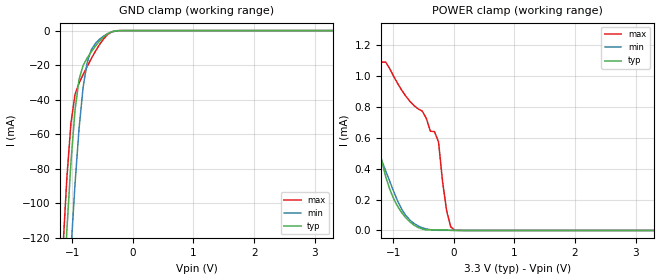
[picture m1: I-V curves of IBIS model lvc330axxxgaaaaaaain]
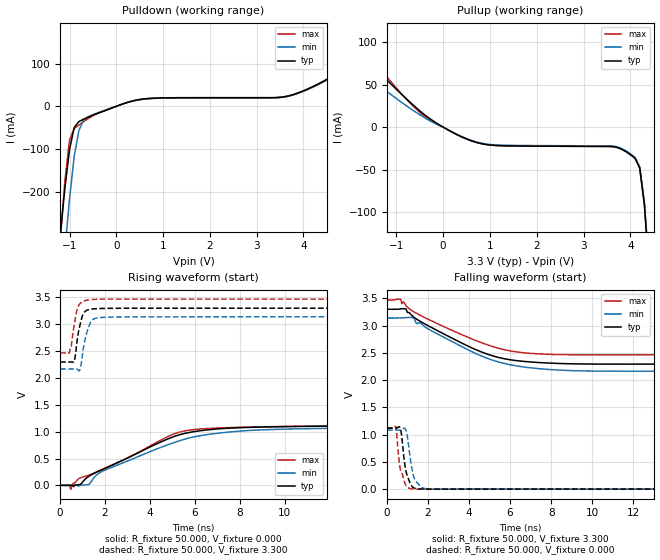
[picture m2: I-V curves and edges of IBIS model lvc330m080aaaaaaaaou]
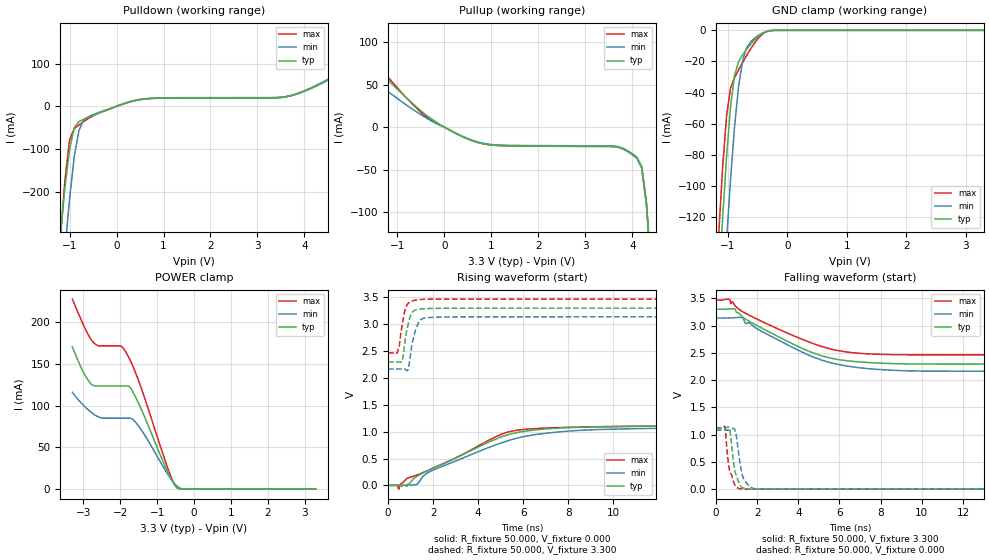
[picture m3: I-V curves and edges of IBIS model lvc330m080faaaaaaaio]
| IBIS Models Generator: Lattice Radiant Software (64-bit) 2023.2.1.288.0
| Report Generate Date: Jun 26 2024
| Report Generate Time: 14:55:34
| IBIS File LibisMaker.ibs
| Cadence Design Systems, Inc. 2021
[IBIS ver]   4.2
[File Name]   Mycpu_impl_1.ibs
[File Rev]   0.8
[Date]   Wed Dec 14 00:00:05 PST 2022
[Source]   Lattice Semiconductor 28fdsoi Process
[Notes]   Device: LFD2NX-40   Final
   Lattice Semiconductor has worked hard to ensure the
   models below are accurate and complete.  However, the
   data below was generated using simulation of the
   input/output model files for the silicon.  Therefore,
   the data below is for reference and initial design
   purposes only.
   Lattice Semiconductor grants permission to use this
   data for use in printed circuit design using this
   Lattice programmable logic device.  Other use of this
   code, including the selling or duplication of any
   portion is strictly prohibited.
|   NAMING CONVENTION
   The IBIS [Model] header is limited by the specification to a
   total of characters.  With such a set of characters available
   for naming models it becomes important to attempt to
   meaningfully encode the IO standards so they fit within the
   twenty character limit.  It would seem that twenty characters
   would provide room enough for describing IO's.  However, the
   PLD IO structure continues to grow more and more complex.  The
   complexity is making the twenty characters insuffiently
   descriptive.  In order to overcome this issue the naming
   convention described below is implemented to resolve the issue.
The twenty character space is managed as follows:
   bbbvvvsdddprttmaoixx
   b = standard
   v = voltage (x.xx V)
   s = slew code
   d = drive (xx.x ma)
   p = pullmode code
   r = impedance
   t = termination code
   m = mipi hard dphy mode
   o = diff resistor code
   i = diff  current code
   x = reserved
   standard
   LVCMOS   lvc
   LVCMOSH   lvh
   LVCMOSR   lvr
   LVCMOSD   lvd
   LVTTL   lvt
   lvttld   ltd
   sstl_I   ss1
   sstl_II   ss2
   sstld_I   s1d
   sstld_II   s2d
   hsul   hs1
   hsuld   h1d
   hstl_I   hs1
   hstld_I   h1d
   lvds   lvs
   lvdse   lve
   SUBLVDS   slv
   sublvdse   sle
   sublvdseh   slh
   slvs   svs
   mipi   mip
   vref1   vr1
   slew
   na   a
   fast   f
   slow   s
   med   m
   drive
   2   020
   4   040
   6   060
   8   080
   10   100
   12   120
   16   160
   50rs   r50
   na   xxx
   pullmode/clamp on
   none   a/e
   failsafe   a/e
   up   b/f
   down   c/g
   keeper   d/h
   i3c   i
   impedance
   off   a
   termination
   off   aa
   40   bb
   50   cc
   60   dd
   75   ee
   150   ff
   mipi hard dphy mode
   off   a
   lp   l
   hs   h
   differential resistor
   off   a
   100   b
   differential current
   NA   a
   2.0   b
   3.5   c
   Reserved   IO type
   in   input only (mipi: rx)
   ou   output (mipi: tx)
   io   I/O
   od   Open drain
   on   Inverting differential I/O
   op   Non-Inverting differential I/O
   All the IO models are generated with pull mode set to none.
   Lattice Semiconductor Corporation
   5555 NE Moore Court
   Hillsboro, OR 97214
   U.S.A
   TEL: 1-800-Lattice (USA and Canada)
   408-826-6000 (other locations)
   web: http://www.latticesemi.com/
   email: techsupport@latticesemi.com
[Disclaimer] This IBIS source code is intended as a design reference
   which illustrates how the Lattice Semiconductor device operates.
   It is the user's responsibility to verify their design for
   consistency and functionality through the use of formal
   verification methods.  Lattice Semiconductor provides no warranty
   regarding the use or functionality of this data.
[Copyright]   Copyright 2021 by Lattice Semiconductor Corporation
|   Component LFD2NX
[Component] LFD2NX
[Manufacturer] Lattice Semiconductor Corp.
[Package]
|CABGA196
| variable   typ   min   max
R_pkg   0.3234   0.16737   0.44674
L_pkg   5.281e-9   2.519e-9   8.941e-9
C_pkg   8.13e-13   5.084e-13   1.26e-12
[Pin]  signal_name   model_name   R_pin   L_pin   C_pin
A8   led_o[0]   lvc330m080gaaaaaaaio
E10   led_o[3]   lvc330m080gaaaaaaaio
B10   led_o[2]   lvc330m080gaaaaaaaio
B8   led_o[1]   lvc330m080gaaaaaaaio
E9   led_o[4]   lvc330m080gaaaaaaaio
D12   led_o[7]   lvc330m080gaaaaaaaio
D11   led_o[6]   lvc330m080gaaaaaaaio
F13   led_o[5]   lvc330m080gaaaaaaaio
C13   scl0   lvc330m080faaaaaaaio
D13   sda0   lvc330m080faaaaaaaio
F11   txd_o   lvc330m080aaaaaaaaou
C11   rxd_i   lvc330axxxgaaaaaaain
B2   rstn_i   lvc330axxxgaaaaaaain
| Models and submodels in the file (4): lvc330axxxgaaaaaaain (Input), lvc330m080aaaaaaaaou (Output), lvc330m080faaaaaaaio (I/O), lvc330m080gaaaaaaaio (I/O)
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[Model] lvc330axxxgaaaaaaain
Model_type Input
Polarity   Non-Inverting
Enable   Active-High
Vinl =  0.800V
Vinh =  2.000V
C_comp   5.000pF   4.000pF   5.500pF
[Temperature Range]   25.000   0.125k   -40.000
[Voltage Range]   3.300V   3.140V   3.470V
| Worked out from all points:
|   GND clamp passes 1 mA (typ) near -0.37 V on its own axis
|   POWER clamp passes 1 mA (typ) near -1.47 V on its own axis
[GND_clamp]
|Voltage   I(typ)   I(min)   I(max)
-3.3V     -1.865A    -1.847A    -1.883A
-1.156V   -160.1mA   -214.1mA   -127.6mA
-1.089V   -115.7mA   -169.6mA   -85.35mA
-1.022V   -76.45mA   -127.5mA   -53.7mA
-955mV    -46.24mA   -89.13mA   -37.05mA
-888mV    -28.3mA    -56.66mA   -30.41mA
-821mV    -20.19mA   -32.82mA   -25.49mA
-754mV    -15.89mA   -18.49mA   -20.81mA
-620mV    -9.094mA   -7.515mA   -12.09mA
-419mV    -1.868mA   -1.846mA   -2.383mA
-218mV    -16.48uA   -78.61uA   -6.639uA
3.3V      0A         0A         0A
[POWER_clamp]
|Voltage   I(typ)   I(min)   I(max)
-3.3V     37.53mA    9.364mA    73.7mA
-1.792V   1.823mA    1.318mA    2.466mA
-1.591V   1.29mA     991.8uA    1.714mA
-1.457V   981.8uA    795.4uA    1.299mA
-1.39V    843.7uA    703.6uA    1.091mA
-1.122V   347.7uA    385.2uA    1.091mA
-854mV    112.9uA    134.5uA    907uA
-586mV    19.15uA    28.85uA    788.2uA
-251mV    3.861uA    1.254uA    573.3uA
-117mV    3.861uA    1.254uA    126.7uA
17mV      69.96nA    1.254uA    1.636uA
3.3V      0A         0A         0A
[Model] lvc330m080aaaaaaaaou
Model_type Output
Polarity   Non-Inverting
Enable   Active-High
Vmeas =  1.650V
Cref =  0.0F
Rref =  1.000M
Vref =  0.0V
C_comp   5.000pF   4.000pF   5.500pF
[Temperature Range]   25.000   0.125k   -40.000
[Voltage Range]   3.300V   3.140V   3.470V
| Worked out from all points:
|   slope of the pulldown table from 0 to 0.495 V, typ, clamps not added: 31.5 ohm
|   slope of the pullup table from 0 to 0.495 V, typ, clamps not added: 35.9 ohm
|   rising waveform, R_fixture 50.000, V_fixture 0.000: 20-80 % time 3.47ns typ, 3.91ns min, 3.27ns max; typ from 0 V to 1.12 V
|   rising waveform, R_fixture 50.000, V_fixture 3.300: 20-80 % time 248ps typ, 295ps min, 236ps max; typ from 2.3 V to 3.3 V
|   falling waveform, R_fixture 50.000, V_fixture 3.300: 20-80 % time 3.22ns typ, 3.2ns min, 3.51ns max; typ from 3.3 V to 2.3 V
|   falling waveform, R_fixture 50.000, V_fixture 0.000: 20-80 % time 273ps typ, 284ps min, 288ps max; typ from 1.12 V to 0 V
[Pulldown]
|Voltage   I(typ)   I(min)   I(max)
-3.3V     -3.025A    -3.614A    -3.918A
-1.2V     -304.3mA   -472.8mA   -317.2mA
-1.1V     -192.9mA   -339.3mA   -175.3mA
-1V       -101.2mA   -217mA     -78.95mA
-900mV    -49.86mA   -117.7mA   -52.21mA
-800mV    -35.81mA   -56.74mA   -43.74mA
-500mV    -20.71mA   -19.77mA   -22.12mA
600mV     17.27mA    16.75mA    17.27mA
3.7V      24.69mA    23.95mA    24.69mA
5.3V      109.4mA    106.1mA    109.4mA
6.1V      131.6mA    127.7mA    131.6mA
6.6V      184.5mA    179mA      184.5mA
[Pullup]
|Voltage   I(typ)   I(min)   I(max)
-3.3V     145.5mA    90.7mA     185.8mA
-3V       114.9mA    81.5mA     156.2mA
-2.7V     96.8mA     74.7mA     125.4mA
-2.4V     95.1mA     71.05mA    105.4mA
-1.9V     90.5mA     66.84mA    102.4mA
-500mV    19.13mA    14.57mA    17.21mA
600mV     -16.01mA   -15.53mA   -16.01mA
3.8V      -25.54mA   -24.77mA   -25.54mA
4.2V      -47.87mA   -46.43mA   -47.87mA
4.3V      -90.8mA    -88.1mA    -90.8mA
4.4V      -169.3mA   -164.2mA   -169.3mA
6.6V      -2.624A    -2.545A    -2.624A
[Ramp]
| variable   typ   min   max
dV/dt_r   0.789/3.474n   0.590/3.936n   0.521/3.276n
dV/dt_f   0.706/3.253n   0.547/3.212n   0.513/3.516n
R_load = 50.000
[Rising Waveform]
R_fixture = 50.000
V_fixture = 0.000
V_fixture_min = 0.000
V_fixture_max = 0.000
|  time   V(typ)   V(min)   V(max)
0s        488.9uV    1.443mV    488.9uV
395ps     637.6uV    952.2uV    3.901mV
475ps     718.1uV    1.451mV    -70.63mV
816ps     13.72mV    -15.69mV   120.4mV
1.256ns   162.7mV    14.22mV    187.3mV
2.016ns   319.3mV    288.2mV    325.9mV
4.885ns   878.7mV    769.5mV    924.9mV
5.78ns    987.4mV    886.1mV    1.03V
9.109ns   1.088V     1.036V     1.091V
20ns      1.119V     1.084V     1.122V
[Rising Waveform]
R_fixture = 50.000
V_fixture = 3.300
V_fixture_min = 3.140
V_fixture_max = 3.470
|  time   V(typ)   V(min)   V(max)
0s        2.297V     2.167V     2.467V
409ps     2.297V     2.166V     2.466V
616ps     2.299V     2.168V     2.961V
734ps     2.622V     2.168V     3.237V
866ps     2.953V     2.141V     3.375V
1.036ns   3.197V     2.555V     3.43V
1.276ns   3.274V     2.953V     3.455V
1.486ns   3.287V     3.096V     3.463V
2.077ns   3.297V     3.131V     3.469V
20ns      3.3V       3.14V      3.47V
[Falling Waveform]
R_fixture = 50.000
V_fixture = 3.300
V_fixture_min = 3.140
V_fixture_max = 3.470
|  time   V(typ)   V(min)   V(max)
0s        3.3V       3.14V      3.47V
666ps     3.307V     3.141V     3.481V
726ps     3.309V     3.14V      3.403V
924ps     3.306V     3.147V     3.369V
1.275ns   3.165V     3.146V     3.261V
1.436ns   3.12V      3.04V      3.227V
4.236ns   2.575V     2.505V     2.741V
6.39ns    2.354V     2.256V     2.514V
9.897ns   2.295V     2.167V     2.465V
20ns      2.297V     2.167V     2.467V
[Falling Waveform]
R_fixture = 50.000
V_fixture = 0.000
V_fixture_min = 0.000
V_fixture_max = 0.000
|  time   V(typ)   V(min)   V(max)
0s        1.119V     1.084V     1.122V
432ps     1.119V     1.083V     1.146V
635ps     1.128V     1.083V     395.6mV
704ps     1.006V     1.09V      298.1mV
846ps     510.1mV    1.117V     138.5mV
936ps     308.8mV    1.065V     61.56mV
1.193ns   62.15mV    421.9mV    5.671mV
1.432ns   8.25mV     133.1mV    217.4uV
1.966ns   398.9uV    4.682mV    -527.1uV
20ns      488.9uV    1.443mV    488.9uV
[Model] lvc330m080faaaaaaaio
Model_type I/O
Polarity   Non-Inverting
Enable   Active-Low
Vinl =  0.800V
Vinh =  2.000V
Vmeas =  1.650V
Cref =  0.0F
Rref =  1.000M
Vref =  0.0V
C_comp   5.000pF   4.000pF   5.500pF
[Temperature Range]   25.000   0.125k   -40.000
[Voltage Range]   3.300V   3.140V   3.470V
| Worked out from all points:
|   slope of the pulldown table from 0 to 0.495 V, typ, clamps not added: 31.5 ohm
|   slope of the pullup table from 0 to 0.495 V, typ, clamps not added: 35.9 ohm
|   GND clamp passes 1 mA (typ) near -0.37 V on its own axis
|   POWER clamp passes 1 mA (typ) near -0.42 V on its own axis
|   rising waveform, R_fixture 50.000, V_fixture 0.000: 20-80 % time 3.47ns typ, 3.91ns min, 3.27ns max; typ from 0 V to 1.12 V
|   rising waveform, R_fixture 50.000, V_fixture 3.300: 20-80 % time 248ps typ, 295ps min, 236ps max; typ from 2.3 V to 3.3 V
|   falling waveform, R_fixture 50.000, V_fixture 3.300: 20-80 % time 3.22ns typ, 3.2ns min, 3.51ns max; typ from 3.3 V to 2.3 V
|   falling waveform, R_fixture 50.000, V_fixture 0.000: 20-80 % time 273ps typ, 284ps min, 288ps max; typ from 1.12 V to 0 V
[GND_clamp]
|Voltage   I(typ)   I(min)   I(max)
-3.3V     -1.887A    -1.873A    -1.902A
-1.156V   -166.9mA   -224mA     -132.1mA
-1.089V   -121.5mA   -178.4mA   -88.64mA
-1.022V   -81.05mA   -135.2mA   -54.94mA
-955mV    -48.98mA   -95.79mA   -37.15mA
-888mV    -28.98mA   -62.05mA   -30.42mA
-821mV    -20.23mA   -36.35mA   -25.49mA
-754mV    -15.89mA   -19.89mA   -20.81mA
-687mV    -12.34mA   -11.44mA   -16.31mA
-620mV    -9.094mA   -7.515mA   -12.09mA
-419mV    -1.869mA   -1.836mA   -2.383mA
3.3V      0A         0A         0A
[POWER_clamp]
|Voltage   I(typ)   I(min)   I(max)
-3.3V     170.3mA    115.9mA    227.4mA
-2.998V   139.6mA    100.3mA    196.3mA
-2.797V   125.9mA    92.2mA     179.4mA
-2.596V   123.5mA    86.45mA    171.5mA
-1.993V   123.5mA    84.93mA    171.5mA
-1.792V   123.5mA    84.93mA    159.6mA
-1.658V   116.4mA    83.68mA    147.1mA
-1.457V   98.28mA    72.65mA    124.1mA
-720mV    21.08mA    18.41mA    25.96mA
-452mV    1.573mA    3.148mA    1.229mA
-184mV    5.589uA    37.85uA    1.612uA
3.3V      0A         0A         0A
[Pulldown]
|Voltage   I(typ)   I(min)   I(max)
-3.3V     -3.025A    -3.614A    -3.918A
-1.2V     -304.3mA   -472.8mA   -317.2mA
-1.1V     -192.9mA   -339.3mA   -175.3mA
-1V       -101.2mA   -217mA     -78.95mA
-900mV    -49.86mA   -117.7mA   -52.21mA
-800mV    -35.81mA   -56.74mA   -43.74mA
-500mV    -20.71mA   -19.77mA   -22.12mA
600mV     17.27mA    16.75mA    17.27mA
3.7V      24.69mA    23.95mA    24.69mA
5.3V      109.4mA    106.1mA    109.4mA
6.1V      131.6mA    127.7mA    131.6mA
6.6V      184.5mA    179mA      184.5mA
[Pullup]
|Voltage   I(typ)   I(min)   I(max)
-3.3V     145.5mA    90.7mA     185.8mA
-3V       114.9mA    81.5mA     156.2mA
-2.7V     96.8mA     74.7mA     125.4mA
-2.4V     95.1mA     71.05mA    105.4mA
-1.9V     90.5mA     66.84mA    102.4mA
-500mV    19.13mA    14.57mA    17.21mA
600mV     -16.01mA   -15.53mA   -16.01mA
3.8V      -25.54mA   -24.77mA   -25.54mA
4.2V      -47.87mA   -46.43mA   -47.87mA
4.3V      -90.8mA    -88.1mA    -90.8mA
4.4V      -169.3mA   -164.2mA   -169.3mA
6.6V      -2.624A    -2.545A    -2.624A
[Ramp]
| variable   typ   min   max
dV/dt_r   0.789/3.474n   0.590/3.936n   0.521/3.276n
dV/dt_f   0.706/3.253n   0.547/3.212n   0.513/3.516n
R_load = 50.000
[Rising Waveform]
R_fixture = 50.000
V_fixture = 0.000
V_fixture_min = 0.000
V_fixture_max = 0.000
|  time   V(typ)   V(min)   V(max)
0s        488.9uV    1.45mV     490.1uV
395ps     637.6uV    958.7uV    3.902mV
475ps     718.1uV    1.458mV    -70.63mV
816ps     13.72mV    -15.69mV   120.4mV
1.256ns   162.7mV    14.22mV    187.3mV
2.016ns   319.3mV    288.2mV    325.9mV
4.885ns   878.7mV    769.5mV    924.9mV
5.78ns    987.4mV    886.1mV    1.03V
9.109ns   1.088V     1.036V     1.091V
20ns      1.119V     1.084V     1.122V
[Rising Waveform]
R_fixture = 50.000
V_fixture = 3.300
V_fixture_min = 3.140
V_fixture_max = 3.470
|  time   V(typ)   V(min)   V(max)
0s        2.297V     2.167V     2.467V
409ps     2.297V     2.166V     2.466V
616ps     2.299V     2.168V     2.961V
734ps     2.622V     2.168V     3.237V
866ps     2.953V     2.141V     3.375V
1.036ns   3.197V     2.555V     3.43V
1.276ns   3.274V     2.953V     3.455V
1.486ns   3.287V     3.096V     3.463V
2.077ns   3.297V     3.131V     3.469V
20ns      3.3V       3.14V      3.47V
[Falling Waveform]
R_fixture = 50.000
V_fixture = 3.300
V_fixture_min = 3.140
V_fixture_max = 3.470
|  time   V(typ)   V(min)   V(max)
0s        3.3V       3.14V      3.47V
666ps     3.307V     3.141V     3.481V
726ps     3.309V     3.14V      3.403V
924ps     3.306V     3.147V     3.369V
1.275ns   3.165V     3.146V     3.261V
1.436ns   3.12V      3.04V      3.227V
4.236ns   2.575V     2.505V     2.741V
6.39ns    2.354V     2.256V     2.514V
9.897ns   2.295V     2.167V     2.465V
20ns      2.297V     2.167V     2.467V
[Falling Waveform]
R_fixture = 50.000
V_fixture = 0.000
V_fixture_min = 0.000
V_fixture_max = 0.000
|  time   V(typ)   V(min)   V(max)
0s        1.119V     1.084V     1.122V
432ps     1.119V     1.083V     1.146V
635ps     1.128V     1.083V     395.6mV
704ps     1.006V     1.09V      298.1mV
846ps     510.1mV    1.117V     138.5mV
936ps     308.8mV    1.065V     61.56mV
1.193ns   62.15mV    421.9mV    5.672mV
1.432ns   8.25mV     133.1mV    218.6uV
1.966ns   398.9uV    4.688mV    -525.9uV
20ns      488.9uV    1.45mV     490.1uV
